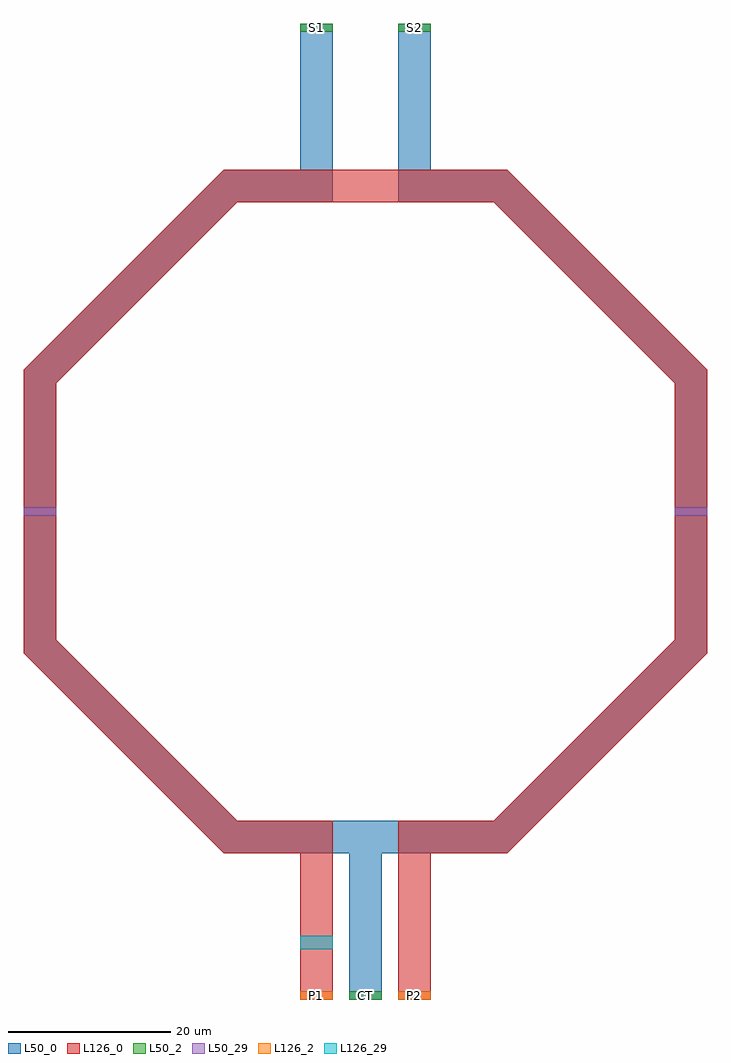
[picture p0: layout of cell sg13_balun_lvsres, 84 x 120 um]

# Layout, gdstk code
import gdstk
lib = gdstk.Library(unit=1e-6, precision=1e-09)
def R(c, l, rs):  # rectangles x0, y0, x1, y1
    for r in rs: c.add(gdstk.rectangle(r[:2], r[2:], *l))
def P(c, l, *ps):  # polygons
    for p in ps: c.add(gdstk.Polygon(p, *l))
L50_0 = (50, 0)
L50_2 = (50, 2)
L50_29 = (50, 29)
L126_0 = (126, 0)
L126_2 = (126, 2)
L126_29 = (126, 29)

sg13_balun_lvsres = lib.new_cell('sg13_balun_lvsres')
R(sg13_balun_lvsres, L50_0, [(-2,-60,2,-40)])
P(sg13_balun_lvsres, L50_0, [(-17.4,-42),(-42,-17.4),(-42,17.4),(-17.4,42),(-8,42),(-8,60),(-4,60),(-4,38),(-15.74,38),(-38,15.74),(-38,-15.74),(-15.74,-38),(15.74,-38),(38,-15.74),(38,15.74),(15.74,38),(4,38),(4,60),(8,60),(8,42),(17.4,42),(42,17.4),(42,-17.4),(17.4,-42)])
R(sg13_balun_lvsres, L50_2, [(-2,-60,2,-59), (-8,59,-4,60), (4,59,8,60)])
R(sg13_balun_lvsres, L50_29, [(-42,-0.5,-38,0.5), (38,-0.5,42,0.5)])
P(sg13_balun_lvsres, L126_0, [(-8,-60),(-8,-42),(-17.4,-42),(-42,-17.4),(-42,17.4),(-17.4,42),(17.4,42),(42,17.4),(42,-17.4),(17.4,-42),(8,-42),(8,-60),(4,-60),(4,-38),(15.74,-38),(38,-15.74),(38,15.74),(15.74,38),(-15.74,38),(-38,15.74),(-38,-15.74),(-15.74,-38),(-4,-38),(-4,-60)])
R(sg13_balun_lvsres, L126_2, [(-8,-60,-4,-59), (4,-60,8,-59)])
R(sg13_balun_lvsres, L126_29, [(-8,-53.82,-4,-52.18)])
sg13_balun_lvsres.add(gdstk.Label('P1', (-6,-59.5), layer=126, texttype=25))
sg13_balun_lvsres.add(gdstk.Label('P2', (6,-59.5), layer=126, texttype=25))
sg13_balun_lvsres.add(gdstk.Label('S1', (-6,59.5), layer=50, texttype=25))
sg13_balun_lvsres.add(gdstk.Label('CT', (0,-59.5), layer=50, texttype=25))
sg13_balun_lvsres.add(gdstk.Label('S2', (6,59.5), layer=50, texttype=25))

lib.write_gds('sg13_balun_lvsres.gds')
